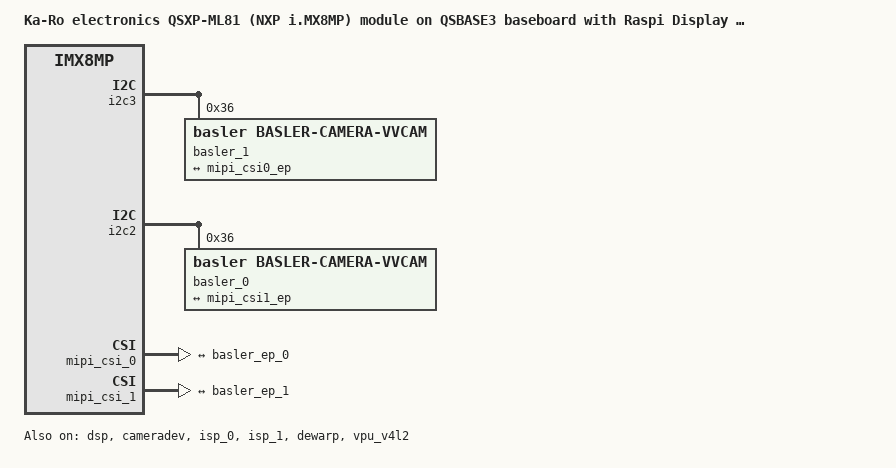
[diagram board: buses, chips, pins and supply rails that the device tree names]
// SPDX-License-Identifier: (GPL-2.0 OR MIT)
/*
 * Copyright (C) 2021 Markus Bauer <mb@karo-electronics.de>
 *
 */

/dts-v1/;

#include "imx8mp-qsxp-ml81-qsbase3-raspi-display.dts"

/ {
	model = "Ka-Ro electronics QSXP-ML81 (NXP i.MX8MP) module on QSBASE3 baseboard with Raspi Display and Basler camera";
};

&dsp {
	status = "okay";
};

&i2c3 {
	basler_1: basler_camera_vvcam@36 {
		compatible = "basler,basler-camera-vvcam", "basler-camera-vvcam";
		reg = <0x36>;
		csi_id = <0x00>;
		status = "okay";

		port {
			basler_ep_0: endpoint {
				data-lanes = <1 2 3 4>;
				clock-lanes = <0>;
				link-frequencies = /bits/ 64 <750000000>;
				max-lane-frequency = /bits/ 64 <750000000>;
				max-pixel-frequency = /bits/ 64 <500000000>;
				max-data-rate = /bits/ 64 <0>;
				remote-endpoint = <&mipi_csi0_ep>;
			};
		};
	};
};

&i2c2 {
	basler_0: basler_camera_vvcam@36 {
		compatible = "basler,basler-camera-vvcam", "basler-camera-vvcam";
		reg = <0x36>;
		csi_id = <0x01>;
		status = "okay";

		port {
			basler_ep_1: endpoint {
				data-lanes = <1 2 3 4>;
				clock-lanes = <0>;
				link-frequencies = /bits/ 64 <750000000>;
				max-lane-frequency = /bits/ 64 <750000000>;
				max-pixel-frequency = /bits/ 64 <266000000>;
				max-data-rate = /bits/ 64 <0>;
				remote-endpoint = <&mipi_csi1_ep>;
			};
		};
	};
};

&mipi_csi_0 {
	#address-cells = <1>;
	#size-cells = <0>;
	status = "okay";

	port@0 {
		reg = <0>;
		mipi_csi0_ep: endpoint {
			remote-endpoint = <&basler_ep_0>;
			data-lanes = <4>;
			csis-hs-settle = <16>;
			csis-clk-settle = <2>;
			csis-wclk;
		};
	};
};

&mipi_csi_1 {
	status = "okay";

	port@1 {
		reg = <1>;
		mipi_csi1_ep: endpoint {
			remote-endpoint = <&basler_ep_1>;
			data-lanes = <4>;
			csis-hs-settle = <16>;
			csis-clk-settle = <2>;
			csis-wclk;
		};
	};
};

&cameradev {
	status = "okay";
};

&isi_0 {
	status = "disabled";

	cap_device {
		status = "okay";
	};

	m2m_device {
		status = "okay";
	};
};

&isi_1 {
	status = "disabled";

	cap_device {
		status = "okay";
	};

	m2m_device {
		status = "okay";
	};
};

&isp_0 {
	status = "okay";
};

&isp_1 {
	status = "okay";
};

&dewarp {
	status = "okay";
};

&vpu_v4l2 {
	status = "okay";
};
